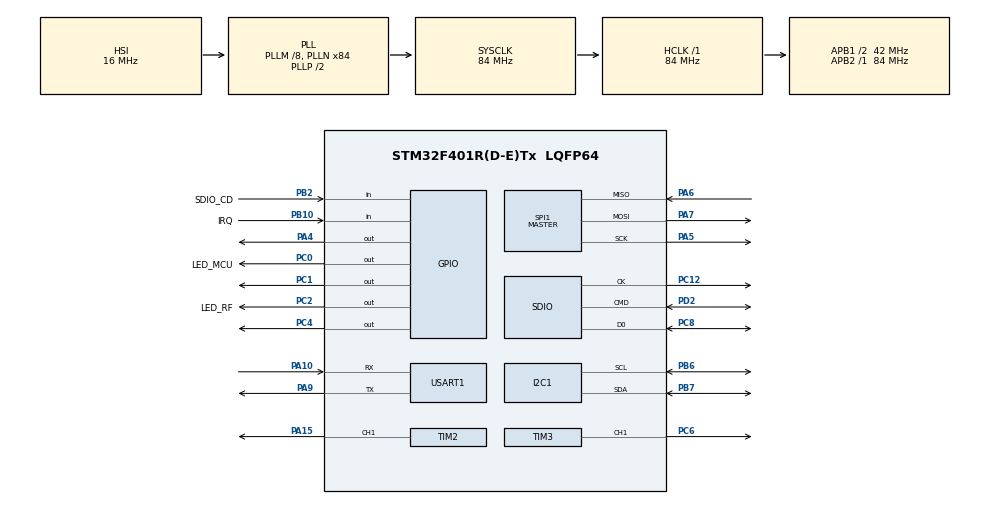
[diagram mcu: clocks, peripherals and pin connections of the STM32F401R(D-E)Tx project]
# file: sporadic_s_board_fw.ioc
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FATFS.BSP.number=1
FATFS._MAX_SS=4096
FATFS0.BSP.STBoard=false
FATFS0.BSP.api=Unknown
FATFS0.BSP.instance=PB2
FATFS0.BSP.ip=GPIO
FATFS0.BSP.mode=Input
FATFS0.BSP.name=Detect_SDIO
FATFS0.BSP.solution=PB2
I2C1.I2C_Mode=I2C_Fast
Mcu.Family=STM32F4
Mcu.Name=STM32F401R(D-E)Tx
Mcu.Package=LQFP64
NVIC.PriorityGroup=NVIC_PRIORITYGROUP_4
PA10.Mode=Asynchronous
PA10.Signal=USART1_RX
PA15.Signal=S_TIM2_CH1_ETR
PA4.Signal=GPIO_Output
PA5.Mode=Full_Duplex_Master
PA5.Signal=SPI1_SCK
PA6.Mode=Full_Duplex_Master
PA6.Signal=SPI1_MISO
PA7.Mode=Full_Duplex_Master
PA7.Signal=SPI1_MOSI
PA9.Mode=Asynchronous
PA9.Signal=USART1_TX
PB10.GPIO_Label=IRQ
PB10.Signal=GPIO_Input
PB2.GPIO_Label=SDIO_CD
PB2.Signal=GPIO_Input
PB6.Mode=I2C
PB6.Signal=I2C1_SCL
PB7.Mode=I2C
PB7.Signal=I2C1_SDA
PC0.GPIO_Label=LED_MCU
PC0.Signal=GPIO_Output
PC1.Signal=GPIO_Output
PC12.Mode=SD_1_bit
PC12.Signal=SDIO_CK
PC14-OSC32_IN.Mode=LSE-External-Oscillator
PC14-OSC32_IN.Signal=RCC_OSC32_IN
PC15-OSC32_OUT.Mode=LSE-External-Oscillator
PC15-OSC32_OUT.Signal=RCC_OSC32_OUT
PC2.GPIO_Label=LED_RF
PC2.Signal=GPIO_Output
PC4.Signal=GPIO_Output
PC6.Signal=S_TIM3_CH1
PC8.GPIO_PuPd=GPIO_PULLUP
PC8.Mode=SD_1_bit
PC8.Signal=SDIO_D0
PD2.GPIO_PuPd=GPIO_PULLUP
PD2.Mode=SD_1_bit
PD2.Signal=SDIO_CMD
PH0\ -\ OSC_IN.Mode=HSE-External-Oscillator
PH0\ -\ OSC_IN.Signal=RCC_OSC_IN
PH1\ -\ OSC_OUT.Mode=HSE-External-Oscillator
PH1\ -\ OSC_OUT.Signal=RCC_OSC_OUT
ProjectManager.HeapSize=0x200
ProjectManager.StackSize=0x400
ProjectManager.TargetToolchain=STM32CubeIDE
RCC.48MHZClocksFreq_Value=42000000
RCC.AHBFreq_Value=84000000
RCC.APB1CLKDivider=RCC_HCLK_DIV2
RCC.APB1Freq_Value=42000000
RCC.APB1TimFreq_Value=84000000
RCC.APB2Freq_Value=84000000
RCC.APB2TimFreq_Value=84000000
RCC.CortexFreq_Value=84000000
RCC.HCLKFreq_Value=84000000
RCC.HSE_VALUE=16000000
RCC.HSI_VALUE=16000000
RCC.PLLM=8
RCC.PLLN=84
RCC.SYSCLKFreq_VALUE=84000000
RCC.SYSCLKSource=RCC_SYSCLKSOURCE_PLLCLK
RCC.VCOOutputFreq_Value=168000000
SDIO.ClockDiv=14
SH.S_TIM2_CH1_ETR.0=TIM2_CH1,PWM Generation1 CH1
SH.S_TIM3_CH1.0=TIM3_CH1,PWM Generation1 CH1
SPI1.BaudRatePrescaler=SPI_BAUDRATEPRESCALER_32
SPI1.Direction=SPI_DIRECTION_2LINES
SPI1.Mode=SPI_MODE_MASTER
SPI1.VirtualType=VM_MASTER
TIM2.Channel-PWM\ Generation1\ CH1=TIM_CHANNEL_1
TIM2.Period=1000-1
TIM2.Prescaler=1680-1
TIM3.Channel-PWM\ Generation1\ CH1=TIM_CHANNEL_1
TIM3.Period=1000-1
TIM3.Prescaler=1680-1
USART1.VirtualMode=VM_ASYNC
VP_FATFS_VS_SDIO.Mode=SDIO
VP_TIM2_VS_ClockSourceINT.Mode=Internal
VP_TIM3_VS_ClockSourceINT.Mode=Internal
board=custom

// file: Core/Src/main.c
/* USER CODE BEGIN Header */
/**
 ******************************************************************************
 * @file           : main.c
 * @brief          : Main program body
 ******************************************************************************
 * @attention
 *
 * Copyright (c) 2023 STMicroelectronics.
 * All rights reserved.
 *
 * This software is licensed under terms that can be found in the LICENSE file
 * in the root directory of this software component.
 * If no LICENSE file comes with this software, it is provided AS-IS.
 *
 ******************************************************************************
 */
/* USER CODE END Header */
#include "main.h"
#include "fatfs.h"

/* USER CODE BEGIN Includes */
//#include "bmp180_for_stm32_hal.h"
/* USER CODE END Includes */

I2C_HandleTypeDef hi2c1;

SD_HandleTypeDef hsd;

SPI_HandleTypeDef hspi1;

TIM_HandleTypeDef htim2;
TIM_HandleTypeDef htim3;

UART_HandleTypeDef huart1;

/* USER CODE BEGIN PV */
#define I2C_SCAN_MAX_DELAY 15
void I2C_Scan() {
	HAL_StatusTypeDef res;
	char info[] = "Scanning I2C bus...\r\n";
	HAL_UART_Transmit(&huart1, (uint8_t*) info, strlen(info),
			I2C_SCAN_MAX_DELAY);
	for (uint16_t i = 0; i < 128; i++) {
		res = HAL_I2C_IsDeviceReady(&hi2c1, i << 1, 1, I2C_SCAN_MAX_DELAY);
		if (res == HAL_OK) {
			char msg[64];
			snprintf(msg, sizeof(msg), "0x%02X", i);
			HAL_UART_Transmit(&huart1, (uint8_t*) msg, strlen(msg),
			I2C_SCAN_MAX_DELAY);
			HAL_UART_Transmit(&huart1, (uint8_t*) "\r\n", 2,
					I2C_SCAN_MAX_DELAY);
		}
		//else HAL_UART_Transmit(&huart1, (uint8_t*)".", 1, I2C_SCAN_MAX_DELAY);
	}
	HAL_UART_Transmit(&huart1, (uint8_t*) "\r\nend\r\n", 7, I2C_SCAN_MAX_DELAY);
}
/* USER CODE END PV */

void SystemClock_Config(void);
static void MX_GPIO_Init(void);
static void MX_I2C1_Init(void);
static void MX_USART1_UART_Init(void);
static void MX_SPI1_Init(void);
static void MX_TIM2_Init(void);
static void MX_TIM3_Init(void);
static void MX_SDIO_SD_Init(void);

/* USER CODE BEGIN 0 */
int16_t map(float x, int16_t in_min, int16_t in_max, int16_t out_min,
		int16_t out_max) {
	return (x - in_min) * (out_max - out_min) / (in_max - in_min) + out_min;
}
#define constrain(x,u,d) (u>d?(x>u?u:(x<d?d:x)):(x>d?d:(x<u?u:x)))
#define max(a,b) (a>b)?a:b
void blink_stmled();
void blink_rfled(uint8_t count);
static void I2C_ClearBusyFlagErratum(I2C_HandleTypeDef *hi2c, uint32_t timeout);
readings data;
static HAL_StatusTypeDef I2CResetBus(void) {
	__HAL_I2C_DISABLE(&hi2c1);
	/* 1. Set SWRST bit in I2Cx_CR1 register. */
	hi2c1.Instance->CR1 |= I2C_CR1_SWRST;
	HAL_Delay(2);
	/* 2. Clear SWRST bit in I2Cx_CR1 register. */
	hi2c1.Instance->CR1 &= ~I2C_CR1_SWRST;
	HAL_Delay(2);
	/* 3. Enable the I2C peripheral by setting the PE bit in I2Cx_CR1 register */
	MX_I2C1_Init();
	__HAL_I2C_ENABLE(&hi2c1);
	HAL_Delay(2);
	hi2c1.ErrorCode = HAL_I2C_ERROR_NONE;
	hi2c1.State = HAL_I2C_STATE_READY;
	hi2c1.PreviousState = 0;
	hi2c1.Mode = HAL_I2C_MODE_NONE;
	return HAL_OK;
}
/* USER CODE END 0 */

int main(void) {

	/* MCU Configuration--------------------------------------------------------*/

	/* Reset of all peripherals, Initializes the Flash interface and the Systick. */
	HAL_Init();

	/* Configure the system clock */
	SystemClock_Config();

	/* USER CODE BEGIN SysInit */
	//I2CResetBus();
	__HAL_RCC_I2C1_CLK_ENABLE();
	HAL_Delay(100);
	__HAL_RCC_I2C1_FORCE_RESET();
	HAL_Delay(100);
	__HAL_RCC_I2C1_RELEASE_RESET();
	HAL_Delay(100);
	/* USER CODE END SysInit */

	/* Initialize all configured peripherals */
	MX_GPIO_Init();
	MX_I2C1_Init();
	MX_USART1_UART_Init();
	MX_SPI1_Init();
	MX_TIM2_Init();
	MX_TIM3_Init();
	MX_SDIO_SD_Init();
	MX_FATFS_Init();
	/* USER CODE BEGIN 2 */
	HAL_Delay(150);
	HAL_TIM_PWM_Start(&htim2, TIM_CHANNEL_1);
	HAL_TIM_PWM_Start(&htim3, TIM_CHANNEL_1);
	blink_stmled();
	debug_init(&huart1);
	log_s("Start");
	//I2C_Scan();
	gy_init_lbl: if (GY801_init(&hi2c1, &data)) {
		I2C_ClearBusyFlagErratum(&hi2c1, 100); //fix i2c HAL_BUSY: https://istarik.ru/blog/stm32/123.html
		log_s("REINIT_DONE TRYING....");
		goto gy_init_lbl;
		blink_rfled(1); //HAL_GPIO_WritePin(GPIOC, LED_RF_Pin, GPIO_PIN_SET);
	}

	uint8_t nrf_data[32];
	nrf_init(&hspi1);
	uint32_t packet = 0;

	extern char SDPath[4];
	FATFS fileSystem;
	uint8_t testbuff[] = "new run\r\n";
	char sdBuff[256];
	FIL logFile;
	UINT tempBytes;
	UINT sdSize = 0;
	FRESULT res = 0;
	FSIZE_t fsize;
	if (f_mount(&fileSystem, (TCHAR const*) SDPath, 0) == FR_OK) {
		if (f_open(&logFile, "log.txt", FA_WRITE | FA_OPEN_ALWAYS) == FR_OK) {
			uint64_t fsize = f_size(&logFile);
			f_lseek(&logFile, fsize);
			if (f_write(&logFile, testbuff, sizeof(testbuff),
					(void*) &tempBytes) == FR_OK) {
				f_sync(&logFile);
			} else {
				log_s("SD_ERR_WRITE");
				blink_rfled(2);
				goto sd_end_lbl;
			}
		} else {
			log_s("SD_ERR_OPEN");
			blink_rfled(2);
			goto sd_end_lbl;
		}
	} else {
		log_s("SD_ERR_MOUNT");
		blink_rfled(2);
		goto sd_end_lbl;
	}
	sd_end_lbl: ;
	/* USER CODE END 2 */

	/* Infinite loop */
	/* USER CODE BEGIN WHILE */

	uint32_t last_t; //,test_t;
	float pitch, roll;
	float max_height=0,start_height=0;
	uint32_t max_height_t = 0,max_accel_t=0;
	uint8_t start_flag=0,end_flag=0,motor_flag=0,enable_compensate_flag=0;

	log_s_int("con 0", constrain(2, -1, 1));
	log_s_int("con 2", constrain(2, 1, -1));
	log_s_int("con -10", constrain(-10, -1, 1));
	// madgwick
	log_s_p_3("ADXL", &data.adxl345.ax, &data.adxl345.ay, &data.adxl345.az);
	log_s_p_3("ACCEL", &data.lsm303dlhc.ax, &data.lsm303dlhc.ay,
			&data.lsm303dlhc.az);
	log_s_p_3("GYRO", &data.l3g4200d.gx, &data.l3g4200d.gy, &data.l3g4200d.gz);
	log_s_p_3("MAG", &data.lsm303dlhc_mag.mx_raw, &data.lsm303dlhc_mag.my_raw,
			&data.lsm303dlhc_mag.mz_raw);
	uint32_t ahrs_t = HAL_GetTick();
	uint16_t hz = 0;
	uint32_t hz_t = HAL_GetTick();
	log_s_p("HZ", &hz);
	mahony_print_ptr();
	//char *log_chars[50];
	while (1) {
		/* USER CODE END WHILE */

		/* USER CODE BEGIN 3 */
		if (!adxl_check_connection()) {
			I2C_ClearBusyFlagErratum(&hi2c1, 100);
		}
		GY801_update_data();
		hz += 1;
		mahony_update((float) (HAL_GetTick() - ahrs_t) / 1000.0f,
				(float) data.l3g4200d.gx * M_PI / 180 / 131,
				(float) data.l3g4200d.gy * M_PI / 180 / 131,
				(float) data.l3g4200d.gz * M_PI / 180 / 131,
				(float) data.adxl345.ay * 9.81 / 32.0f,
				(float) data.adxl345.ax * 9.81 / 32.0f,
				(float) data.adxl345.az * 9.81 / 32.0f,
				(float) data.lsm303dlhc_mag.mx / 450,
				(float) data.lsm303dlhc_mag.my / 450,
				(float) data.lsm303dlhc_mag.mz / 450);
		//log_s_int("AHRS_T", HAL_GetTick() - ahrs_t);
		ahrs_t = HAL_GetTick();
		pitch = (enable_compensate_flag==1)?constrain(mahony_getPitch(),-20,20):0  + 10;
		roll = (enable_compensate_flag==1)?constrain(mahony_getRoll(),-20,20):0 + 10;
		htim2.Instance->CCR1 = constrain(
				map(/*(pitch<15+21 && pitch> -15+21)?pitch:21*/pitch, -90, 90,
						125, 25), 25, 125);
		htim3.Instance->CCR1 = constrain(
				map(/*(roll<15-23 && roll> -15-23)?roll:-23*/roll, -90, 90, 25,
						125), 25, 125);

		if (HAL_GetTick() - hz_t >= 1000) {
			hz_t = HAL_GetTick();
			log_s_int("HZ", hz);
			hz = 0;
		}

		if (HAL_GetTick() - last_t >= 100) {
			last_t = HAL_GetTick();
			BMP180_upd_data();
			nrf_data[0] = (packet >> 8 * 0) & 0xFF;
			nrf_data[1] = (packet >> 8 * 1) & 0xFF;
			nrf_data[2] = (packet >> 8 * 2) & 0xFF;
			nrf_data[3] = (packet >> 8 * 3) & 0xFF;
			nrf_data[4] = ((uint16_t) (data.bmp180.pressure / 10) >> 8 * 0)
					& 0xFF;
			nrf_data[5] = ((uint16_t) (data.bmp180.pressure / 10) >> 8 * 1)
					& 0xFF;
			nrf_data[6] = (data.adxl345.ay >> 8 * 0) & 0xFF;
			nrf_data[7] = (data.adxl345.ay >> 8 * 1) & 0xFF;
			nrf_data[8] = (data.adxl345.ax >> 8 * 0) & 0xFF;
			nrf_data[9] = (data.adxl345.ax >> 8 * 1) & 0xFF;
			nrf_data[10] = (data.adxl345.az >> 8 * 0) & 0xFF;
			nrf_data[11] = (data.adxl345.az >> 8 * 1) & 0xFF;
			nrf_data[12] = (data.l3g4200d.gx >> 8 * 0) & 0xFF;
			nrf_data[13] = (data.l3g4200d.gx >> 8 * 1) & 0xFF;
			nrf_data[14] = (data.l3g4200d.gy >> 8 * 0) & 0xFF;
			nrf_data[15] = (data.l3g4200d.gy >> 8 * 1) & 0xFF;
			nrf_data[16] = (data.l3g4200d.gz >> 8 * 0) & 0xFF;
			nrf_data[17] = (data.l3g4200d.gz >> 8 * 1) & 0xFF;
			nrf_data[18] = (data.lsm303dlhc_mag.mx_raw >> 8 * 0) & 0xFF;
			nrf_data[19] = (data.lsm303dlhc_mag.mx_raw >> 8 * 1) & 0xFF;
			nrf_data[20] = (data.lsm303dlhc_mag.my_raw >> 8 * 0) & 0xFF;
			nrf_data[21] = (data.lsm303dlhc_mag.my_raw >> 8 * 1) & 0xFF;
			nrf_data[22] = (data.lsm303dlhc_mag.mz_raw >> 8 * 0) & 0xFF;
			nrf_data[23] = (data.lsm303dlhc_mag.mz_raw >> 8 * 1) & 0xFF;
			nrf_data[24] = ((int16_t) (mahony_getRoll() * 100) >> 8 * 0) & 0xFF;
			nrf_data[25] = ((int16_t) (mahony_getRoll() * 100) >> 8 * 1) & 0xFF;
			nrf_data[26] = ((int16_t) (mahony_getPitch() * 100) >> 8 * 0)
					& 0xFF;
			nrf_data[27] = ((int16_t) (mahony_getPitch() * 100) >> 8 * 1)
					& 0xFF;
			nrf_data[28] = ((int16_t) (mahony_getYaw() * 100) >> 8 * 0) & 0xFF;
			nrf_data[29] = ((int16_t) (mahony_getYaw() * 100) >> 8 * 1) & 0xFF;
			nrf_data[30] = (data.bmp180.temp >> 8 * 0) & 0xFF;
			nrf_data[31] = (data.bmp180.temp >> 8 * 1) & 0xFF;
			//uint32_t test_t=HAL_GetTick();
			nrf_send(nrf_data);  //2ms
			//log_s_int("NRF_T",HAL_GetTick()-test_t);

			memset(sdBuff, 0, sizeof(sdBuff));
			sprintf(sdBuff,
					"%ld|%ld|%f|%.1f|%ld|%f|%d|%d|%d|%d|%d|%d|%f|%f|%f|%f|%f|%f|%d|%d|%d|\r\n",
					packet, HAL_GetTick(), (float) data.bmp180.height,
					((float) data.bmp180.temp) / 10, data.bmp180.pressure,
					sqrt(pow(data.adxl345.ax,2)+ pow(data.adxl345.ay,2)+ pow(data.adxl345.az,2)),
					data.adxl345.ax, data.adxl345.ay, data.adxl345.az,
					data.l3g4200d.gx, data.l3g4200d.gy, data.l3g4200d.gz,
					(float) data.lsm303dlhc_mag.mx,
					(float) data.lsm303dlhc_mag.my,
					(float) data.lsm303dlhc_mag.mz,
					mahony_getRoll(), mahony_getPitch(), mahony_getYaw(),
					start_flag,motor_flag,end_flag);
			//log_s_wnl(sdBuff);
			if (f_write(&logFile, sdBuff, strlen(sdBuff), &tempBytes)
					== FR_OK) {
				f_sync(&logFile);
			} else
				HAL_GPIO_TogglePin(GPIOC, LED_RF_Pin);
			/*sprintf((char*) log_chars, "|%c%c|\r\n",(data.adxl345.ax >> 8 * 0) & 0xFF,(data.adxl345.ax >> 8 * 1) & 0xFF);
			 log_s_wnl((const char*) log_chars);*/
			//HAL_GPIO_WritePin(GPIOC, GPIO_PIN_1, (packet>50 && packet<100)?GPIO_PIN_SET:GPIO_PIN_RESET);
			if(sqrt(pow(data.adxl345.ax,2)+ pow(data.adxl345.ay,2)+ pow(data.adxl345.az,2))>32*2 && max_accel_t==0 && HAL_GetTick() > 2000){
				max_accel_t=HAL_GetTick();
			}
			if(HAL_GetTick()-max_accel_t>2000 && max_accel_t!=0){
				enable_compensate_flag=1;
			}
			if (HAL_GetTick() > 5000) {
				if(start_height==0){
					start_height=data.bmp180.height;
				}
				if (data.bmp180.height-start_height>10){
					start_flag=1;
				}
				if(start_flag && data.bmp180.height-start_height<10){
					end_flag=1;
				}
				//log_s_float("height", data.bmp180.height);
				max_height = max(data.bmp180.height, max_height);
				//log_s_float("m__eight", max_height);
				if (max_height - data.bmp180.height > 5) {
					if (max_height_t == 0) {
						max_height_t = HAL_GetTick();
						motor_flag=1;
						HAL_GPIO_WritePin(GPIOC, GPIO_PIN_1, GPIO_PIN_SET);
					}
					if (HAL_GetTick()-max_height_t  > 5000
							&& max_height_t != 0) {
						HAL_GPIO_WritePin(GPIOC, GPIO_PIN_1, GPIO_PIN_RESET);
					}
				}
			}
			packet++;
			HAL_GPIO_TogglePin(GPIOC, GPIO_PIN_0);

		}

		//HAL_Delay(20);
	}
	/* USER CODE END 3 */
}

void SystemClock_Config(void) {
	RCC_OscInitTypeDef RCC_OscInitStruct = { 0 };
	RCC_ClkInitTypeDef RCC_ClkInitStruct = { 0 };

	/** Configure the main internal regulator output voltage
	 */
	__HAL_RCC_PWR_CLK_ENABLE();
	__HAL_PWR_VOLTAGESCALING_CONFIG(PWR_REGULATOR_VOLTAGE_SCALE2);

	/** Initializes the RCC Oscillators according to the specified parameters
	 * in the RCC_OscInitTypeDef structure.
	 */
	RCC_OscInitStruct.OscillatorType = RCC_OSCILLATORTYPE_HSI;
	RCC_OscInitStruct.HSIState = RCC_HSI_ON;
	RCC_OscInitStruct.HSICalibrationValue = RCC_HSICALIBRATION_DEFAULT;
	RCC_OscInitStruct.PLL.PLLState = RCC_PLL_ON;
	RCC_OscInitStruct.PLL.PLLSource = RCC_PLLSOURCE_HSI;
	RCC_OscInitStruct.PLL.PLLM = 8;
	RCC_OscInitStruct.PLL.PLLN = 84;
	RCC_OscInitStruct.PLL.PLLP = RCC_PLLP_DIV2;
	RCC_OscInitStruct.PLL.PLLQ = 4;
	if (HAL_RCC_OscConfig(&RCC_OscInitStruct) != HAL_OK) {
		Error_Handler();
	}

	/** Initializes the CPU, AHB and APB buses clocks
	 */
	RCC_ClkInitStruct.ClockType = RCC_CLOCKTYPE_HCLK | RCC_CLOCKTYPE_SYSCLK
			| RCC_CLOCKTYPE_PCLK1 | RCC_CLOCKTYPE_PCLK2;
	RCC_ClkInitStruct.SYSCLKSource = RCC_SYSCLKSOURCE_PLLCLK;
	RCC_ClkInitStruct.AHBCLKDivider = RCC_SYSCLK_DIV1;
	RCC_ClkInitStruct.APB1CLKDivider = RCC_HCLK_DIV2;
	RCC_ClkInitStruct.APB2CLKDivider = RCC_HCLK_DIV1;

	if (HAL_RCC_ClockConfig(&RCC_ClkInitStruct, FLASH_LATENCY_2) != HAL_OK) {
		Error_Handler();
	}
}

static void MX_I2C1_Init(void) {

	hi2c1.Instance = I2C1;
	hi2c1.Init.ClockSpeed = 400000;
	hi2c1.Init.DutyCycle = I2C_DUTYCYCLE_2;
	hi2c1.Init.OwnAddress1 = 0;
	hi2c1.Init.AddressingMode = I2C_ADDRESSINGMODE_7BIT;
	hi2c1.Init.DualAddressMode = I2C_DUALADDRESS_DISABLE;
	hi2c1.Init.OwnAddress2 = 0;
	hi2c1.Init.GeneralCallMode = I2C_GENERALCALL_DISABLE;
	hi2c1.Init.NoStretchMode = I2C_NOSTRETCH_DISABLE;
	if (HAL_I2C_Init(&hi2c1) != HAL_OK) {
		Error_Handler();
	}

}

static void MX_SDIO_SD_Init(void) {

	hsd.Instance = SDIO;
	hsd.Init.ClockEdge = SDIO_CLOCK_EDGE_RISING;
	hsd.Init.ClockBypass = SDIO_CLOCK_BYPASS_DISABLE;
	hsd.Init.ClockPowerSave = SDIO_CLOCK_POWER_SAVE_DISABLE;
	hsd.Init.BusWide = SDIO_BUS_WIDE_1B;
	hsd.Init.HardwareFlowControl = SDIO_HARDWARE_FLOW_CONTROL_DISABLE;
	hsd.Init.ClockDiv = 14;

}

static void MX_SPI1_Init(void) {

	/* SPI1 parameter configuration*/
	hspi1.Instance = SPI1;
	hspi1.Init.Mode = SPI_MODE_MASTER;
	hspi1.Init.Direction = SPI_DIRECTION_2LINES;
	hspi1.Init.DataSize = SPI_DATASIZE_8BIT;
	hspi1.Init.CLKPolarity = SPI_POLARITY_LOW;
	hspi1.Init.CLKPhase = SPI_PHASE_1EDGE;
	hspi1.Init.NSS = SPI_NSS_SOFT;
	hspi1.Init.BaudRatePrescaler = SPI_BAUDRATEPRESCALER_32;
	hspi1.Init.FirstBit = SPI_FIRSTBIT_MSB;
	hspi1.Init.TIMode = SPI_TIMODE_DISABLE;
	hspi1.Init.CRCCalculation = SPI_CRCCALCULATION_DISABLE;
	hspi1.Init.CRCPolynomial = 10;
	if (HAL_SPI_Init(&hspi1) != HAL_OK) {
		Error_Handler();
	}

}

static void MX_TIM2_Init(void) {

	TIM_ClockConfigTypeDef sClockSourceConfig = { 0 };
	TIM_MasterConfigTypeDef sMasterConfig = { 0 };
	TIM_OC_InitTypeDef sConfigOC = { 0 };

	htim2.Instance = TIM2;
	htim2.Init.Prescaler = 1680 - 1;
	htim2.Init.CounterMode = TIM_COUNTERMODE_UP;
	htim2.Init.Period = 1000 - 1;
	htim2.Init.ClockDivision = TIM_CLOCKDIVISION_DIV1;
	htim2.Init.AutoReloadPreload = TIM_AUTORELOAD_PRELOAD_DISABLE;
	if (HAL_TIM_Base_Init(&htim2) != HAL_OK) {
		Error_Handler();
	}
	sClockSourceConfig.ClockSource = TIM_CLOCKSOURCE_INTERNAL;
	if (HAL_TIM_ConfigClockSource(&htim2, &sClockSourceConfig) != HAL_OK) {
		Error_Handler();
	}
	if (HAL_TIM_PWM_Init(&htim2) != HAL_OK) {
		Error_Handler();
	}
	sMasterConfig.MasterOutputTrigger = TIM_TRGO_RESET;
	sMasterConfig.MasterSlaveMode = TIM_MASTERSLAVEMODE_DISABLE;
	if (HAL_TIMEx_MasterConfigSynchronization(&htim2, &sMasterConfig)
			!= HAL_OK) {
		Error_Handler();
	}
	sConfigOC.OCMode = TIM_OCMODE_PWM1;
	sConfigOC.Pulse = 0;
	sConfigOC.OCPolarity = TIM_OCPOLARITY_HIGH;
	sConfigOC.OCFastMode = TIM_OCFAST_DISABLE;
	if (HAL_TIM_PWM_ConfigChannel(&htim2, &sConfigOC, TIM_CHANNEL_1)
			!= HAL_OK) {
		Error_Handler();
	}
	HAL_TIM_MspPostInit(&htim2);

}

static void MX_TIM3_Init(void) {

	TIM_ClockConfigTypeDef sClockSourceConfig = { 0 };
	TIM_MasterConfigTypeDef sMasterConfig = { 0 };
	TIM_OC_InitTypeDef sConfigOC = { 0 };

	htim3.Instance = TIM3;
	htim3.Init.Prescaler = 1680 - 1;
	htim3.Init.CounterMode = TIM_COUNTERMODE_UP;
	htim3.Init.Period = 1000 - 1;
	htim3.Init.ClockDivision = TIM_CLOCKDIVISION_DIV1;
	htim3.Init.AutoReloadPreload = TIM_AUTORELOAD_PRELOAD_DISABLE;
	if (HAL_TIM_Base_Init(&htim3) != HAL_OK) {
		Error_Handler();
	}
	sClockSourceConfig.ClockSource = TIM_CLOCKSOURCE_INTERNAL;
	if (HAL_TIM_ConfigClockSource(&htim3, &sClockSourceConfig) != HAL_OK) {
		Error_Handler();
	}
	if (HAL_TIM_PWM_Init(&htim3) != HAL_OK) {
		Error_Handler();
	}
	sMasterConfig.MasterOutputTrigger = TIM_TRGO_RESET;
	sMasterConfig.MasterSlaveMode = TIM_MASTERSLAVEMODE_DISABLE;
	if (HAL_TIMEx_MasterConfigSynchronization(&htim3, &sMasterConfig)
			!= HAL_OK) {
		Error_Handler();
	}
	sConfigOC.OCMode = TIM_OCMODE_PWM1;
	sConfigOC.Pulse = 0;
	sConfigOC.OCPolarity = TIM_OCPOLARITY_HIGH;
	sConfigOC.OCFastMode = TIM_OCFAST_DISABLE;
	if (HAL_TIM_PWM_ConfigChannel(&htim3, &sConfigOC, TIM_CHANNEL_1)
			!= HAL_OK) {
		Error_Handler();
	}
	HAL_TIM_MspPostInit(&htim3);

}

static void MX_USART1_UART_Init(void) {

	huart1.Instance = USART1;
	huart1.Init.BaudRate = 115200;
	huart1.Init.WordLength = UART_WORDLENGTH_8B;
	huart1.Init.StopBits = UART_STOPBITS_1;
	huart1.Init.Parity = UART_PARITY_NONE;
	huart1.Init.Mode = UART_MODE_TX_RX;
	huart1.Init.HwFlowCtl = UART_HWCONTROL_NONE;
	huart1.Init.OverSampling = UART_OVERSAMPLING_16;
	if (HAL_UART_Init(&huart1) != HAL_OK) {
		Error_Handler();
	}

}

static void MX_GPIO_Init(void) {
	GPIO_InitTypeDef GPIO_InitStruct = { 0 };

	/* GPIO Ports Clock Enable */
	__HAL_RCC_GPIOC_CLK_ENABLE();
	__HAL_RCC_GPIOH_CLK_ENABLE();
	__HAL_RCC_GPIOA_CLK_ENABLE();
	__HAL_RCC_GPIOB_CLK_ENABLE();
	__HAL_RCC_GPIOD_CLK_ENABLE();

	/*Configure GPIO pin Output Level */
	HAL_GPIO_WritePin(GPIOC, LED_MCU_Pin | GPIO_PIN_1 | LED_RF_Pin | GPIO_PIN_4,
			GPIO_PIN_RESET);

	/*Configure GPIO pin Output Level */
	HAL_GPIO_WritePin(GPIOA, GPIO_PIN_4, GPIO_PIN_RESET);

	/*Configure GPIO pins : LED_MCU_Pin PC1 LED_RF_Pin PC4 */
	GPIO_InitStruct.Pin = LED_MCU_Pin | GPIO_PIN_1 | LED_RF_Pin | GPIO_PIN_4;
	GPIO_InitStruct.Mode = GPIO_MODE_OUTPUT_PP;
	GPIO_InitStruct.Pull = GPIO_NOPULL;
	GPIO_InitStruct.Speed = GPIO_SPEED_FREQ_LOW;
	HAL_GPIO_Init(GPIOC, &GPIO_InitStruct);

	/*Configure GPIO pin : PA4 */
	GPIO_InitStruct.Pin = GPIO_PIN_4;
	GPIO_InitStruct.Mode = GPIO_MODE_OUTPUT_PP;
	GPIO_InitStruct.Pull = GPIO_NOPULL;
	GPIO_InitStruct.Speed = GPIO_SPEED_FREQ_LOW;
	HAL_GPIO_Init(GPIOA, &GPIO_InitStruct);

	/*Configure GPIO pins : SDIO_CD_Pin IRQ_Pin */
	GPIO_InitStruct.Pin = SDIO_CD_Pin | IRQ_Pin;
	GPIO_InitStruct.Mode = GPIO_MODE_INPUT;
	GPIO_InitStruct.Pull = GPIO_NOPULL;
	HAL_GPIO_Init(GPIOB, &GPIO_InitStruct);

	/* USER CODE BEGIN MX_GPIO_Init_2 */
	/* I2C fix */
	/*GPIO_InitStruct.Pin = GPIO_PIN_6|GPIO_PIN_7;
	 GPIO_InitStruct.Mode = GPIO_MODE_OUTPUT_PP;
	 GPIO_InitStruct.Pull = GPIO_NOPULL;
	 HAL_GPIO_Init(GPIOB, &GPIO_InitStruct);
	 HAL_GPIO_WritePin(GPIOA, GPIO_PIN_4, GPIO_PIN_RESET);
	 for (int i = 0; i<10; i++) {
	 HAL_GPIO_WritePin(GPIOA, GPIO_PIN_7, GPIO_PIN_RESET);
	 HAL_Delay(3);
	 HAL_GPIO_WritePin(GPIOA, GPIO_PIN_6, GPIO_PIN_SET);
	 HAL_Delay(3);
	 HAL_GPIO_WritePin(GPIOA, GPIO_PIN_7, GPIO_PIN_SET);
	 HAL_Delay(3);
	 HAL_GPIO_WritePin(GPIOA, GPIO_PIN_6, GPIO_PIN_RESET);
	 HAL_Delay(3);
	 }
	 GPIO_InitStruct.Pin = GPIO_PIN_6|GPIO_PIN_7;
	 GPIO_InitStruct.Mode = GPIO_MODE_INPUT;
	 GPIO_InitStruct.Pull = GPIO_NOPULL;
	 HAL_GPIO_Init(GPIOB, &GPIO_InitStruct);
	 HAL_GPIO_WritePin(GPIOA, GPIO_PIN_4, GPIO_PIN_RESET);*/
	/* USER CODE END MX_GPIO_Init_2 */
}

/* USER CODE BEGIN 4 */
void blink_stmled() {
	HAL_GPIO_TogglePin(GPIOC, GPIO_PIN_0);
	HAL_Delay(100);
	HAL_GPIO_TogglePin(GPIOC, GPIO_PIN_0);
}

void blink_rfled(uint8_t count) {
	for (uint8_t i = 0; i < count; i++) {
		HAL_GPIO_TogglePin(GPIOC, LED_RF_Pin);
		HAL_Delay(100);
		HAL_GPIO_TogglePin(GPIOC, LED_RF_Pin);
		HAL_Delay(100);
	}
}

static uint8_t wait_for_gpio_state_timeout(GPIO_TypeDef *port, uint16_t pin,
		GPIO_PinState state, uint32_t timeout) {
	uint32_t Tickstart = HAL_GetTick();
	uint8_t ret = 1;

	for (; (state != HAL_GPIO_ReadPin(port, pin)) && (1 == ret);) // Wait until flag is set
			{
		if (timeout != HAL_MAX_DELAY) // Check for the timeout
		{
			if ((timeout == 0U) || ((HAL_GetTick() - Tickstart) > timeout))
				ret = 0;
		}

		asm("nop");
	}
	return ret;
}
static void I2C_ClearBusyFlagErratum(I2C_HandleTypeDef *hi2c, uint32_t timeout) {
	/**I2C1 GPIO Configuration
	 PB6     ------> I2C1_SCL
	 PB7     ------> I2C1_SDA
	 */
	// 2.13.7 I2C analog filter may provide wrong value, locking BUSY. STM32F10xx8 STM32F10xxB Errata sheet
	GPIO_InitTypeDef GPIO_InitStructure = { 0 };

	// 1. Clear PE bit.
	CLEAR_BIT(hi2c->Instance->CR1, I2C_CR1_PE);

	//  2. Configure the SCL and SDA I/Os as General Purpose Output Open-Drain, High level (Write 1 to GPIOx_ODR).
	HAL_I2C_DeInit(hi2c);

	GPIO_InitStructure.Mode = GPIO_MODE_OUTPUT_OD;
	GPIO_InitStructure.Pull = GPIO_NOPULL;

	GPIO_InitStructure.Pin = GPIO_PIN_6; // SCL // если пин другой, то укажите нужный
	HAL_GPIO_Init(GPIOB, &GPIO_InitStructure); // если порт другой, то укажите нужную букву GPIOх, и ниже там все порты и пины поменяйте на своё

	GPIO_InitStructure.Pin = GPIO_PIN_7; // SDA
	HAL_GPIO_Init(GPIOB, &GPIO_InitStructure);

	// 3. Check SCL and SDA High level in GPIOx_IDR.
	HAL_GPIO_WritePin(GPIOB, GPIO_PIN_7, GPIO_PIN_SET);
	HAL_GPIO_WritePin(GPIOB, GPIO_PIN_6, GPIO_PIN_SET);

	wait_for_gpio_state_timeout(GPIOB, GPIO_PIN_6, GPIO_PIN_SET, timeout);
	wait_for_gpio_state_timeout(GPIOB, GPIO_PIN_7, GPIO_PIN_SET, timeout);

	// 4. Configure the SDA I/O as General Purpose Output Open-Drain, Low level (Write 0 to GPIOx_ODR).
	HAL_GPIO_WritePin(GPIOB, GPIO_PIN_7, GPIO_PIN_RESET);

	// 5. Check SDA Low level in GPIOx_IDR.
	wait_for_gpio_state_timeout(GPIOB, GPIO_PIN_7, GPIO_PIN_RESET, timeout);

	// 6. Configure the SCL I/O as General Purpose Output Open-Drain, Low level (Write 0 to GPIOx_ODR).
	HAL_GPIO_WritePin(GPIOB, GPIO_PIN_6, GPIO_PIN_RESET);

	// 7. Check SCL Low level in GPIOx_IDR.
	wait_for_gpio_state_timeout(GPIOB, GPIO_PIN_6, GPIO_PIN_RESET, timeout);

	// 8. Configure the SCL I/O as General Purpose Output Open-Drain, High level (Write 1 to GPIOx_ODR).
	HAL_GPIO_WritePin(GPIOB, GPIO_PIN_6, GPIO_PIN_SET);

	// 9. Check SCL High level in GPIOx_IDR.
	wait_for_gpio_state_timeout(GPIOB, GPIO_PIN_6, GPIO_PIN_SET, timeout);

	// 10. Configure the SDA I/O as General Purpose Output Open-Drain , High level (Write 1 to GPIOx_ODR).
	HAL_GPIO_WritePin(GPIOB, GPIO_PIN_7, GPIO_PIN_SET);

	// 11. Check SDA High level in GPIOx_IDR.
	wait_for_gpio_state_timeout(GPIOB, GPIO_PIN_7, GPIO_PIN_SET, timeout);

	// 12. Configure the SCL and SDA I/Os as Alternate function Open-Drain.
	GPIO_InitStructure.Mode = GPIO_MODE_AF_OD;
	//GPIO_InitStructure.Alternate = GPIO_AF4_I2C2; // F4

	GPIO_InitStructure.Pin = GPIO_PIN_6;
	HAL_GPIO_Init(GPIOB, &GPIO_InitStructure);

	GPIO_InitStructure.Pin = GPIO_PIN_7;
	HAL_GPIO_Init(GPIOB, &GPIO_InitStructure);

	// 13. Set SWRST bit in I2Cx_CR1 register.
	SET_BIT(hi2c->Instance->CR1, I2C_CR1_SWRST);
	asm("nop");

	/* 14. Clear SWRST bit in I2Cx_CR1 register. */
	CLEAR_BIT(hi2c->Instance->CR1, I2C_CR1_SWRST);
	asm("nop");

	/* 15. Enable the I2C peripheral by setting the PE bit in I2Cx_CR1 register */
	SET_BIT(hi2c->Instance->CR1, I2C_CR1_PE);
	asm("nop");

	// Call initialization function.
	HAL_I2C_Init(hi2c);
}
/* USER CODE END 4 */

void Error_Handler(void) {
	__disable_irq();
	while (1) {
	}
}
